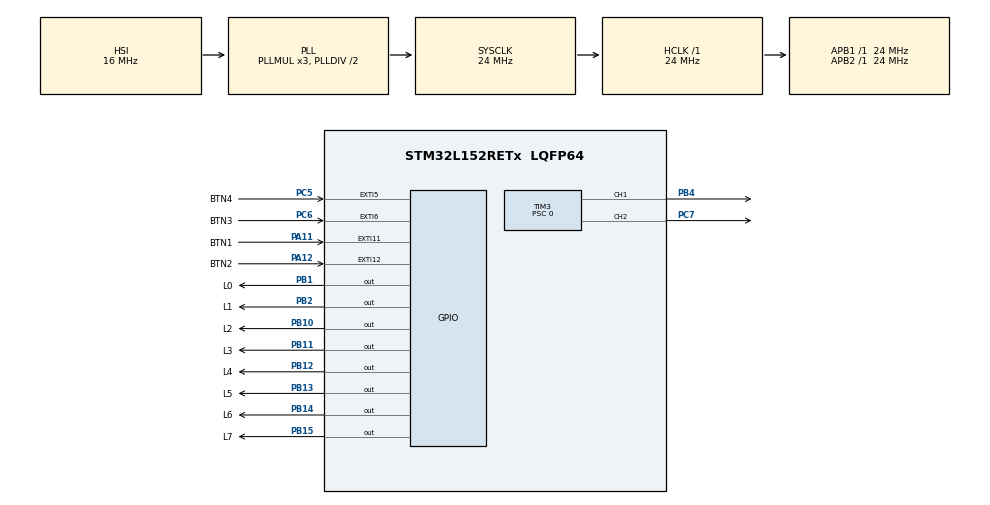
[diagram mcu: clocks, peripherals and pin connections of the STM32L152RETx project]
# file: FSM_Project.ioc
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Mcu.Family=STM32L1
Mcu.Name=STM32L152RETx
Mcu.Package=LQFP64
NVIC.EXTI15_10_IRQn=true\:0\:0\:false\:false\:true\:true\:true\:true
NVIC.EXTI9_5_IRQn=true\:0\:0\:false\:false\:true\:true\:true\:true
NVIC.PriorityGroup=NVIC_PRIORITYGROUP_4
NVIC.TIM6_IRQn=true\:0\:0\:false\:false\:true\:true\:true\:true
PA11.GPIO_Label=BTN1
PA11.Signal=GPXTI11
PA12.GPIO_Label=BTN2
PA12.Signal=GPXTI12
PB1.GPIO_Label=L0
PB1.Signal=GPIO_Output
PB10.GPIO_Label=L2
PB10.Signal=GPIO_Output
PB11.GPIO_Label=L3
PB11.Signal=GPIO_Output
PB12.GPIO_Label=L4
PB12.Signal=GPIO_Output
PB13.GPIO_Label=L5
PB13.Signal=GPIO_Output
PB14.GPIO_Label=L6
PB14.Signal=GPIO_Output
PB15.GPIO_Label=L7
PB15.Signal=GPIO_Output
PB2.GPIO_Label=L1
PB2.Signal=GPIO_Output
PB4.Signal=S_TIM3_CH1
PC5.GPIO_Label=BTN4
PC5.Signal=GPXTI5
PC6.GPIO_Label=BTN3
PC6.Signal=GPXTI6
PC7.Signal=S_TIM3_CH2
ProjectManager.HeapSize=0x200
ProjectManager.StackSize=0x400
ProjectManager.TargetToolchain=STM32CubeIDE
RCC.AHBFreq_Value=24000000
RCC.APB1Freq_Value=24000000
RCC.APB1TimFreq_Value=24000000
RCC.APB2Freq_Value=24000000
RCC.APB2TimFreq_Value=24000000
RCC.HCLKFreq_Value=24000000
RCC.HSE_VALUE=24000000
RCC.HSI_VALUE=16000000
RCC.LSE_VALUE=32768
RCC.MSI_VALUE=2097000
RCC.SYSCLKFreq_VALUE=24000000
RCC.SYSCLKSource=RCC_SYSCLKSOURCE_PLLCLK
RCC.VCOOutputFreq_Value=48000000
SH.S_TIM3_CH1.0=TIM3_CH1,PWM Generation1 CH1
SH.S_TIM3_CH2.0=TIM3_CH2,PWM Generation2 CH2
TIM3.Channel-PWM\ Generation1\ CH1=TIM_CHANNEL_1
TIM3.Channel-PWM\ Generation2\ CH2=TIM_CHANNEL_2
TIM3.Period=65535
TIM3.Prescaler=0
TIM3.Pulse-PWM\ Generation1\ CH1=65535
TIM3.Pulse-PWM\ Generation2\ CH2=4800
TIM6.Period=100
TIM6.Prescaler=23999
VP_TIM6_VS_ClockSourceINT.Mode=Enable_Timer
board=custom

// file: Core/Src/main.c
/* USER CODE BEGIN Header */
/**
  ******************************************************************************
  * @file           : main.c
  * @brief          : Main program body
  ******************************************************************************
  * @attention
  *
  * Copyright (c) 2024 STMicroelectronics.
  * All rights reserved.
  *
  * This software is licensed under terms that can be found in the LICENSE file
  * in the root directory of this software component.
  * If no LICENSE file comes with this software, it is provided AS-IS.
  *
  ******************************************************************************
  */
/* USER CODE END Header */
#include "main.h"

/* USER CODE BEGIN Includes */
#include "stdio.h"
/* USER CODE END Includes */

TIM_HandleTypeDef htim3;
TIM_HandleTypeDef htim6;

/* USER CODE BEGIN PV */
volatile uint32_t btn1_irq_cnt;
volatile uint32_t btn2_irq_cnt;
volatile uint32_t btn3_irq_cnt;
volatile uint32_t btn4_irq_cnt;

//Definition of the table containing the available tempo for the chaser animation
uint32_t tempos[] = { 10, 50, 100, 500, 1000 };
size_t tempo_sz = sizeof(tempos) / sizeof(uint32_t);

//Definition of the table containing the available tempo for the jukebox animation
uint32_t tempos_jukebox[] = {50, 100, 150, 200,300,350,400 };
size_t tempo_jukebox_sz = sizeof(tempos_jukebox) / sizeof(uint32_t);

//Set the default value for each animation
int tempo_selected = 2;

int tempo_jukebox_selected =3;

int note_selected = 0;

int speed_selected = 2;

//Definition of the partition that will be played on the buzzer for the jukebox animation
char *jukebox_partition[] = {
	    "A5", "B5", "C5", "A5", "E5", MUTE, "E5", "D5",MUTE,MUTE,
	    "A5", "B5", "C5", "A5", "D5", MUTE, "D5", "C5","C5", MUTE,MUTE,MUTE,MUTE
	};
//Size of the partition
size_t jukebox_partition_sz = sizeof(jukebox_partition)/ sizeof(char*);
/* USER CODE END PV */

void SystemClock_Config(void);
static void MX_GPIO_Init(void);
static void MX_TIM3_Init(void);
static void MX_TIM6_Init(void);

/* USER CODE BEGIN 0 */

int __io_putchar(int ch){
	ITM_SendChar(ch);
	return ch;
}

//Definition of the enum for the Final State Machine
typedef enum {
	STATE_START, STATE_CHASER, STATE_BUZZER, STATE_JUKEBOX, STATE_CUSTOM
} FSM_States_Enum;

typedef enum {
	USER_INPUT_OK, USER_INPUT_ERROR
} UserInput_Enum;

typedef enum {
	NOT_EXECUTED, EXECUTED,
} ExecutionState_Enum;

UserInput_Enum user_input = USER_INPUT_ERROR;
int16_t actual_animation = 0;
int16_t target_animation = 0;

FSM_States_Enum current_state = STATE_START;
ExecutionState_Enum execution_state = NOT_EXECUTED;

void (*state_callbacks[5])(void);

/**
 * @Brief Set the state to the new state given
 * @param New state to set to current
 */
void set_new_state(FSM_States_Enum new_state){
	current_state = new_state;
	if(new_state == STATE_CHASER) actual_animation = 0;
	if(new_state == STATE_BUZZER) actual_animation = 1;
	if(new_state == STATE_JUKEBOX) actual_animation = 2;
	if(new_state == STATE_CUSTOM) actual_animation = 3;
	execution_state = NOT_EXECUTED;
}

/**
 * @Brief Start of the FSM
 */
void state_start(void){
	if(execution_state == NOT_EXECUTED){
		user_input = USER_INPUT_ERROR;
		printf("Starting.\r\n");
	}
}

/**
 * @Brief Start the timer when entering chasser state
 */
void state_chaser(void){
	if(execution_state == NOT_EXECUTED){
		if (htim6.State == HAL_TIM_STATE_READY){
			if (HAL_TIM_Base_Start_IT(&htim6) != HAL_OK) {
				Error_Handler();
			}
		}
	}
}

/**
 * @Brief Start the timer 3 channel 2 and set the tone the default note when entering buzzer state
 */
void state_buzzer(void){
	if(execution_state == NOT_EXECUTED){
		if (htim3.State == HAL_TIM_STATE_READY){
			if (HAL_TIM_PWM_Start_IT(&htim3, TIM_CHANNEL_2) != HAL_OK){
				Error_Handler();
			}
		}
		execute_buzzer(&htim3, note_selected);
	}
}

/**
 * @Brief Start the jukebox when entering the Jukebox State
 */
void state_jukebox(void){
	if(execution_state == NOT_EXECUTED){
		//When starting the tempo is 1 step lower than it should be
		increase_tempo_jukebox(tempo_jukebox_selected, &htim6, tempos_jukebox);
		if (htim3.State == HAL_TIM_STATE_READY && htim6.State == HAL_TIM_STATE_READY){
            if (start_jukebox(&htim3, &htim6) != JUKEBOX_OK){
                Error_Handler();
            }
        }

	}
}

/**
 * @Brief Start the timer 3 when entering the Custom state
 */
void state_custom(void){
	if(execution_state == NOT_EXECUTED){
		if (htim3.State == HAL_TIM_STATE_READY){
			if (execute_motor(&htim3, speed_selected) == MOTOR_ERROR){
				Error_Handler();
			}
		}
	}
}

/**
 * @Brief Init all the required variables for the use of the FSM
 */
void init_fsm(void){
	user_input = USER_INPUT_ERROR;
	actual_animation = 0;
	target_animation = 0;

	state_callbacks[STATE_START] = state_start;
	state_callbacks[STATE_CHASER] = state_chaser;
	state_callbacks[STATE_BUZZER] = state_buzzer;
	state_callbacks[STATE_JUKEBOX] = state_jukebox;
	state_callbacks[STATE_CUSTOM] = state_custom;

	set_new_state(STATE_START);
}

/**
 * @Brief Manage the FSM by changing the state if necessary
 */
void fsm_project(void){
	state_callbacks[current_state]();

	execution_state = EXECUTED;

	switch(current_state){

	case STATE_START:
		set_new_state(STATE_CHASER);
		break;

	case STATE_CHASER:
		if((user_input == USER_INPUT_OK) && (target_animation == 3)){
			set_new_state(STATE_CUSTOM);
		}else if((user_input == USER_INPUT_OK) && (actual_animation < target_animation)){
			set_new_state(STATE_BUZZER);
		}
		break;

	case STATE_BUZZER:
		if((user_input == USER_INPUT_OK) && (actual_animation < target_animation)){
			set_new_state(STATE_JUKEBOX);
		}else if((user_input == USER_INPUT_OK) && (actual_animation > target_animation)){
			set_new_state(STATE_CHASER);
		}
		break;

	case STATE_JUKEBOX:
		if((user_input == USER_INPUT_OK) && (actual_animation < target_animation)){
			set_new_state(STATE_CUSTOM);
		}else if((user_input == USER_INPUT_OK) && (actual_animation > target_animation)){
			set_new_state(STATE_BUZZER);
		}
		break;

	case STATE_CUSTOM:
		if((user_input == USER_INPUT_OK) && (target_animation == 0)){
			set_new_state(STATE_CHASER);
		}else if((user_input == USER_INPUT_OK) && (actual_animation > target_animation)){
			set_new_state(STATE_JUKEBOX);
		}
		break;

	}
}

/**
 * @Brief Definition of the callback for the button
 * @param GPIO Pin of the pressed button
 */
void HAL_GPIO_EXTI_Callback(uint16_t GPIO_Pin){
	//Set the debounce time to 200ms
	const uint32_t t_debounce = 200;

	if (GPIO_Pin == BTN1_Pin){
		static uint32_t t_ref_debounce_btn1 = 0;
		if ((HAL_GetTick() - t_ref_debounce_btn1) >= t_debounce){
			t_ref_debounce_btn1 = HAL_GetTick();
			btn1_irq_cnt++;
		}
	}
	else if (GPIO_Pin == BTN2_Pin){
		static uint32_t t_ref_debounce_btn2 = 0;
		if ((HAL_GetTick() - t_ref_debounce_btn2) >= t_debounce){
			t_ref_debounce_btn2 = HAL_GetTick();
			btn2_irq_cnt++;
		}
	}
	else if (GPIO_Pin == BTN3_Pin){
		static uint32_t t_ref_debounce_btn3 = 0;
		if ((HAL_GetTick() - t_ref_debounce_btn3) >= t_debounce){
			t_ref_debounce_btn3 = HAL_GetTick();
			btn3_irq_cnt++;
		}
	}
	else if (GPIO_Pin == BTN4_Pin){
		static uint32_t t_ref_debounce_btn4 = 0;
		if ((HAL_GetTick() - t_ref_debounce_btn4) >= t_debounce){
			t_ref_debounce_btn4 = HAL_GetTick();
			btn4_irq_cnt++;
		}
	}
}

/**
 * @Brief redefinition of the Period Elapsed callback to be customely used
 * @param Handle of the timer that has finiched to count
 * @retval none
 */
void HAL_TIM_PeriodElapsedCallback(TIM_HandleTypeDef *htim) {

	if(htim == &htim6){
		//If the timer 6 has finished and the current state is the chaser => execute the chaser animation
		if(current_state == STATE_CHASER){
			if(execute_chaser() != CHASER_OK){
						Error_Handler();
					}
		}
		//Else if the current state if the jukebox => execute the jukebox
		else if(current_state == STATE_JUKEBOX){
		            if(execute_jukebox(jukebox_partition, &htim3) != JUKEBOX_OK){
		                Error_Handler();
		            }
		        }
	}
	if(htim == &htim3){
		//If the timer 3 has finished execute the buzzer
		if(execute_buzzer(&htim3, note_selected) != BUZZER_OK){
			Error_Handler();
		}
	}

}

/* USER CODE END 0 */

int main(void)
{

  /* USER CODE BEGIN 1 */
	//Definition of the table of available LED of the ISEN32 Board
	TypeDefLed TabLed[8] = { 0 };

	TabLed[0].Pin = L0_Pin;
	TabLed[0].Port = L0_GPIO_Port;

	TabLed[1].Pin = L1_Pin;
	TabLed[1].Port = L1_GPIO_Port;

	TabLed[2].Pin = L2_Pin;
	TabLed[2].Port = L2_GPIO_Port;

	TabLed[3].Pin = L3_Pin;
	TabLed[3].Port = L3_GPIO_Port;

	TabLed[4].Pin = L4_Pin;
	TabLed[4].Port = L4_GPIO_Port;

	TabLed[5].Pin = L5_Pin;
	TabLed[5].Port = L5_GPIO_Port;

	TabLed[6].Pin = L6_Pin;
	TabLed[6].Port = L6_GPIO_Port;

	TabLed[7].Pin = L7_Pin;
	TabLed[7].Port = L7_GPIO_Port;

	//Definition of the size of the table of LED
	size_t TabLed_sz = sizeof(TabLed) / sizeof(TypeDefLed);

	//Defnition of the available note that can be played using the buzzer
	TypeDef_Note notes[] = {
			{ "F#4", 369.99, 0 },
			{ "G4", 392.00, 0 },
			{ "G#4", 415.30, 0 },
			{ "A4", 440.00, 0 },
			{ "A#4", 466.16, 0 },
			{ "B4", 493.88, 0 },

			{ "C5", 523.25, 0 },
			{ "C#5", 554.37, 0 },
			{ "D5", 587.33, 0 },
			{ "Eb5", 622.25, 0 },
			{ "E5", 659.25, 0 },
			{ "F5", 698.46, 0 },
			{ "F#5", 739.99, 0 },
			{ "G5", 783.99, 0 },
			{ "G#5", 830.61, 0 },
			{ "A5", 880.00, 0 },
			{ "A#5", 932.33, 0 },
			{ "B5", 987.77, 0 },

			{ "C6", 1046.50, 0 },
			{ "C#6", 1108.73, 0 },
			{ "D6", 1174.66, 0 },
			{ "Eb6", 1244.51, 0 },
			{ "E6", 1318.51, 0 },
			{ "F6", 1396.91, 0 },
			{ "F#6", 1479.98, 0 },
			{ "G6", 1567.98, 0 },
			{ "G#6", 1661.22, 0 },
			{ "A6", 1760.00, 0 },
			{ "A#6", 1864.66, 0 },
			{ "B6", 1975.53, 0 }

	};
	//Size of the previous tab
	size_t notes_sz = sizeof(notes) / sizeof(TypeDef_Note);

	//Definition of the table of available speed for the motor
	TypeDef_Speed speeds[] = {
			{0.0, 0},
			{0.25, 0},
			{0.5, 0},
			{0.75, 0},
			{1.0, 0}
	};
	//Size of the motor tab
	size_t speeds_sz = sizeof(speeds) / sizeof(TypeDef_Speed);
  /* USER CODE END 1 */

  /* MCU Configuration--------------------------------------------------------*/

  /* Reset of all peripherals, Initializes the Flash interface and the Systick. */
  HAL_Init();

  /* Configure the system clock */
  SystemClock_Config();

  /* Initialize all configured peripherals */
  MX_GPIO_Init();
  MX_TIM3_Init();
  MX_TIM6_Init();
  /* USER CODE BEGIN 2 */
  //Initialization of all state machine and all the animation with check
  init_fsm();

  if(init_chaser(TabLed, TabLed_sz) != CHASER_OK){
	  Error_Handler();
  }
  if(init_buzzer(notes, notes_sz) != BUZZER_OK){
	  Error_Handler();
  }
  if(init_jukebox(notes, notes_sz, jukebox_partition_sz) != JUKEBOX_OK){
	  Error_Handler();
  }
  if(init_motor(speeds, speeds_sz, &htim3) != MOTOR_OK){
    	  Error_Handler();
  }
  /* USER CODE END 2 */

  /* Infinite loop */
  /* USER CODE BEGIN WHILE */
  while (1)
  {
	  //Change state if needed
	  fsm_project();

	  //Button 1 : set to previous animation
	  if(btn1_irq_cnt){

		  btn1_irq_cnt--;

		  //In case of reaching beyond the first animation, set to the last animation
		  target_animation = (target_animation > 0) ? target_animation - 1 : 3;

		  user_input = USER_INPUT_OK;

		  if (current_state == STATE_CHASER){
			  //Kill the chaser if it is the current animation
			  if (kill_chaser(&htim6) != CHASER_OK){
				  Error_Handler();
			  }
			  tempo_selected = 2;
		  }else if (current_state == STATE_BUZZER){
			  //Kill the buzzer if it is the current animation
			  if (kill_buzzer(&htim3) != BUZZER_OK){
				  Error_Handler();
			  }
			  note_selected = 0;
		  }else if(current_state == STATE_JUKEBOX){
			  //Kill the jukebox if it is the current animation
			  if(kill_jukebox(&htim3,&htim6) != JUKEBOX_OK){
				  Error_Handler();
			  }
			  tempo_jukebox_selected = 3;
		  }else if (current_state == STATE_CUSTOM){
			  //Kill the motor if it is the current animation
			  if (kill_motor(&htim3) != MOTOR_OK){
				  Error_Handler();
			  }
			  speed_selected = 2;
		  }
	  }
	  //Button 2 : set to next animation
	  if(btn2_irq_cnt){

		  btn2_irq_cnt--;

		  //In case of reaching beyond the last animation, set to the first animation
		  target_animation = (target_animation < 3) ? target_animation + 1 : 0;
		  user_input = USER_INPUT_OK;
		  if (current_state == STATE_CHASER){
			  //Kill the chaser if it is the current animation
			  if (kill_chaser(&htim6) != CHASER_OK){
				  Error_Handler();
			  }
			  tempo_selected = 2;
		  }else if (current_state == STATE_BUZZER){
			  //Kill the buzzer if it is the current animation
			  if (kill_buzzer(&htim3) != BUZZER_OK){
				  Error_Handler();
			  }
			  note_selected = 0;
		  } else if(current_state == STATE_JUKEBOX){
			  //Kill the jukebox if it is the current animation
			  if(kill_jukebox(&htim3,&htim6) != JUKEBOX_OK){
				  Error_Handler();
			  }
			  tempo_jukebox_selected = 3;
		  }else if (current_state == STATE_CUSTOM){
			  //Kill the motor if it is the current animation
			  if (kill_motor(&htim3) != MOTOR_OK){
				  Error_Handler();
			  }
			  speed_selected = 2;
		  }
	  }
	  //Button 3 : apply the "-" modifier to the current animation
	  if(btn3_irq_cnt){

		  btn3_irq_cnt--;

		  if (current_state == STATE_CHASER){
			  tempo_selected = decrease_tempo_chaser(tempo_selected, &htim6, tempos, tempo_sz);
		  }

		  else if (current_state == STATE_BUZZER){
			  note_selected = previous_note(note_selected, &htim3);
		  }

		  else if (current_state == STATE_JUKEBOX){
			  tempo_jukebox_selected = decrease_tempo_jukebox(tempo_jukebox_selected, &htim6, tempos_jukebox,tempo_jukebox_sz);
		  }

		  else if (current_state == STATE_CUSTOM){
			  speed_selected = speed_down(speed_selected, &htim3);
		  }
	  }
	  //Button 4 : apply the "+" modifier to the current animation
	  if(btn4_irq_cnt){

		  btn4_irq_cnt--;

		  if (current_state == STATE_CHASER){
			  tempo_selected = increase_tempo_chaser(tempo_selected, &htim6, tempos);
		  }

		  else if (current_state == STATE_BUZZER){
			  note_selected = next_note(note_selected, &htim3);
		  }

		  else if(current_state == STATE_JUKEBOX){
			  tempo_jukebox_selected = increase_tempo_jukebox(tempo_jukebox_selected, &htim6, tempos_jukebox);
		  }

		  else if (current_state == STATE_CUSTOM){
			  speed_selected = speed_up(speed_selected, &htim3);
		  }
	  }
    /* USER CODE END WHILE */

  }
}

void SystemClock_Config(void)
{
  RCC_OscInitTypeDef RCC_OscInitStruct = {0};
  RCC_ClkInitTypeDef RCC_ClkInitStruct = {0};

  /** Configure the main internal regulator output voltage
  */
  __HAL_PWR_VOLTAGESCALING_CONFIG(PWR_REGULATOR_VOLTAGE_SCALE1);

  /** Initializes the RCC Oscillators according to the specified parameters
  * in the RCC_OscInitTypeDef structure.
  */
  RCC_OscInitStruct.OscillatorType = RCC_OSCILLATORTYPE_HSI;
  RCC_OscInitStruct.HSIState = RCC_HSI_ON;
  RCC_OscInitStruct.HSICalibrationValue = RCC_HSICALIBRATION_DEFAULT;
  RCC_OscInitStruct.PLL.PLLState = RCC_PLL_ON;
  RCC_OscInitStruct.PLL.PLLSource = RCC_PLLSOURCE_HSI;
  RCC_OscInitStruct.PLL.PLLMUL = RCC_PLL_MUL3;
  RCC_OscInitStruct.PLL.PLLDIV = RCC_PLL_DIV2;
  if (HAL_RCC_OscConfig(&RCC_OscInitStruct) != HAL_OK)
  {
    Error_Handler();
  }

  /** Initializes the CPU, AHB and APB buses clocks
  */
  RCC_ClkInitStruct.ClockType = RCC_CLOCKTYPE_HCLK|RCC_CLOCKTYPE_SYSCLK
                              |RCC_CLOCKTYPE_PCLK1|RCC_CLOCKTYPE_PCLK2;
  RCC_ClkInitStruct.SYSCLKSource = RCC_SYSCLKSOURCE_PLLCLK;
  RCC_ClkInitStruct.AHBCLKDivider = RCC_SYSCLK_DIV1;
  RCC_ClkInitStruct.APB1CLKDivider = RCC_HCLK_DIV1;
  RCC_ClkInitStruct.APB2CLKDivider = RCC_HCLK_DIV1;

  if (HAL_RCC_ClockConfig(&RCC_ClkInitStruct, FLASH_LATENCY_1) != HAL_OK)
  {
    Error_Handler();
  }
}

static void MX_TIM3_Init(void)
{

  TIM_MasterConfigTypeDef sMasterConfig = {0};
  TIM_OC_InitTypeDef sConfigOC = {0};

  htim3.Instance = TIM3;
  htim3.Init.Prescaler = 0;
  htim3.Init.CounterMode = TIM_COUNTERMODE_UP;
  htim3.Init.Period = 65535;
  htim3.Init.ClockDivision = TIM_CLOCKDIVISION_DIV1;
  htim3.Init.AutoReloadPreload = TIM_AUTORELOAD_PRELOAD_DISABLE;
  if (HAL_TIM_PWM_Init(&htim3) != HAL_OK)
  {
    Error_Handler();
  }
  sMasterConfig.MasterOutputTrigger = TIM_TRGO_RESET;
  sMasterConfig.MasterSlaveMode = TIM_MASTERSLAVEMODE_DISABLE;
  if (HAL_TIMEx_MasterConfigSynchronization(&htim3, &sMasterConfig) != HAL_OK)
  {
    Error_Handler();
  }
  sConfigOC.OCMode = TIM_OCMODE_PWM1;
  sConfigOC.Pulse = 65535;
  sConfigOC.OCPolarity = TIM_OCPOLARITY_HIGH;
  sConfigOC.OCFastMode = TIM_OCFAST_DISABLE;
  if (HAL_TIM_PWM_ConfigChannel(&htim3, &sConfigOC, TIM_CHANNEL_1) != HAL_OK)
  {
    Error_Handler();
  }
  sConfigOC.Pulse = 4800;
  if (HAL_TIM_PWM_ConfigChannel(&htim3, &sConfigOC, TIM_CHANNEL_2) != HAL_OK)
  {
    Error_Handler();
  }
  HAL_TIM_MspPostInit(&htim3);

}

static void MX_TIM6_Init(void)
{

  TIM_MasterConfigTypeDef sMasterConfig = {0};

  htim6.Instance = TIM6;
  htim6.Init.Prescaler = 23999;
  htim6.Init.CounterMode = TIM_COUNTERMODE_UP;
  htim6.Init.Period = 100;
  htim6.Init.AutoReloadPreload = TIM_AUTORELOAD_PRELOAD_DISABLE;
  if (HAL_TIM_Base_Init(&htim6) != HAL_OK)
  {
    Error_Handler();
  }
  sMasterConfig.MasterOutputTrigger = TIM_TRGO_RESET;
  sMasterConfig.MasterSlaveMode = TIM_MASTERSLAVEMODE_DISABLE;
  if (HAL_TIMEx_MasterConfigSynchronization(&htim6, &sMasterConfig) != HAL_OK)
  {
    Error_Handler();
  }

}

static void MX_GPIO_Init(void)
{
  GPIO_InitTypeDef GPIO_InitStruct = {0};

  /* GPIO Ports Clock Enable */
  __HAL_RCC_GPIOC_CLK_ENABLE();
  __HAL_RCC_GPIOB_CLK_ENABLE();
  __HAL_RCC_GPIOA_CLK_ENABLE();

  /*Configure GPIO pin Output Level */
  HAL_GPIO_WritePin(GPIOB, L0_Pin|L1_Pin|L2_Pin|L3_Pin
                          |L4_Pin|L5_Pin|L6_Pin|L7_Pin, GPIO_PIN_RESET);

  /*Configure GPIO pins : BTN4_Pin BTN3_Pin */
  GPIO_InitStruct.Pin = BTN4_Pin|BTN3_Pin;
  GPIO_InitStruct.Mode = GPIO_MODE_IT_RISING;
  GPIO_InitStruct.Pull = GPIO_NOPULL;
  HAL_GPIO_Init(GPIOC, &GPIO_InitStruct);

  /*Configure GPIO pins : L0_Pin L1_Pin L2_Pin L3_Pin
                           L4_Pin L5_Pin L6_Pin L7_Pin */
  GPIO_InitStruct.Pin = L0_Pin|L1_Pin|L2_Pin|L3_Pin
                          |L4_Pin|L5_Pin|L6_Pin|L7_Pin;
  GPIO_InitStruct.Mode = GPIO_MODE_OUTPUT_PP;
  GPIO_InitStruct.Pull = GPIO_NOPULL;
  GPIO_InitStruct.Speed = GPIO_SPEED_FREQ_LOW;
  HAL_GPIO_Init(GPIOB, &GPIO_InitStruct);

  /*Configure GPIO pins : BTN1_Pin BTN2_Pin */
  GPIO_InitStruct.Pin = BTN1_Pin|BTN2_Pin;
  GPIO_InitStruct.Mode = GPIO_MODE_IT_RISING;
  GPIO_InitStruct.Pull = GPIO_NOPULL;
  HAL_GPIO_Init(GPIOA, &GPIO_InitStruct);

  /* EXTI interrupt init*/
  HAL_NVIC_SetPriority(EXTI9_5_IRQn, 0, 0);
  HAL_NVIC_EnableIRQ(EXTI9_5_IRQn);

  HAL_NVIC_SetPriority(EXTI15_10_IRQn, 0, 0);
  HAL_NVIC_EnableIRQ(EXTI15_10_IRQn);

}

void Error_Handler(void)
{
  __disable_irq();
  while (1)
  {
  }
}
